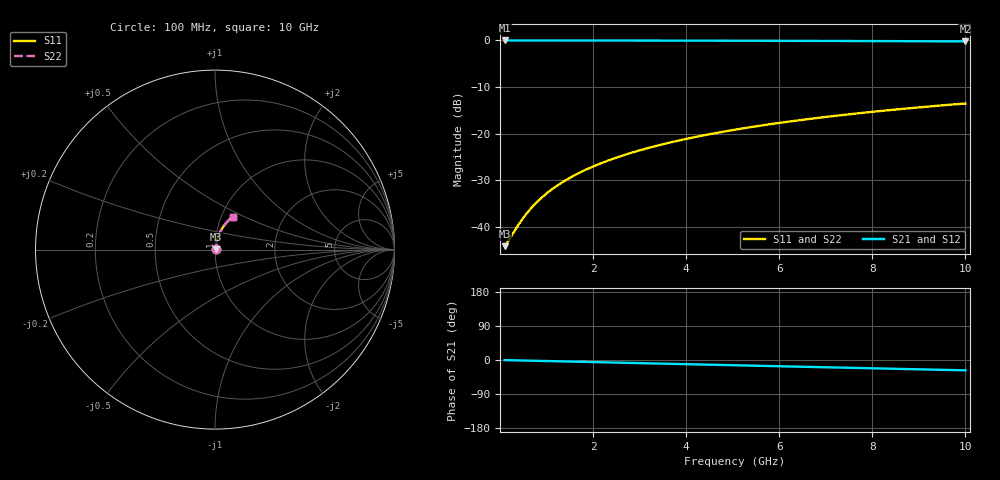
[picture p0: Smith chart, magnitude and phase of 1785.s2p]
# Hz S RI R 50.00
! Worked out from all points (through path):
!   100 points, 100 MHz to 10 GHz, reference 50 ohm
!   highest |S21| = -0.05 dB at 100 MHz (marker M1); lowest = -0.3 dB at 10 GHz (marker M2)
!   group delay of S21, straight-line fit = 7.58 ps
!   lowest |S11| = -44.1 dB at 100 MHz (marker M3), VSWR 1.01, Z = 50.6 + j0.221 ohm
!   |S11| at or under -10 dB: start of sweep to end of sweep
!   |S22| runs from -44.1 to -13.5 dB; largest |S21 - S12| = 0
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1e8  0.00586 0.00218  0.9941 -0.00478  0.9941 -0.00478  0.00586 0.00218
2e8  0.00593 0.00436  0.9941 -0.00956  0.9941 -0.00956  0.00593 0.00436
4e8  0.00611 0.00872  0.9938 -0.0191  0.9938 -0.0191  0.00611 0.00872
5e8  0.00622 0.0109  0.9937 -0.0239  0.9937 -0.0239  0.00622 0.0109
6e8  0.00635 0.0131  0.9935 -0.0287  0.9935 -0.0287  0.00635 0.0131
7e8  0.0065 0.0153  0.9933 -0.0334  0.9933 -0.0334  0.0065 0.0153
8e8  0.00667 0.0174  0.9931 -0.0382  0.9931 -0.0382  0.00667 0.0174
1e9  0.00707 0.0218  0.9926 -0.0478  0.9926 -0.0478  0.00707 0.0218
1.2e9  0.00756 0.0261  0.9919 -0.0573  0.9919 -0.0573  0.00756 0.0261
1.5e9  0.00843 0.0326  0.9908 -0.0716  0.9908 -0.0716  0.00843 0.0326
1.8e9  0.00949 0.039  0.9894 -0.0858  0.9894 -0.0858  0.00949 0.039
2.1e9  0.0107 0.0454  0.9877 -0.1  0.9877 -0.1  0.0107 0.0454
2.5e9  0.0127 0.0539  0.9851 -0.1189  0.9851 -0.1189  0.0127 0.0539
2.9e9  0.0149 0.0623  0.9821 -0.1377  0.9821 -0.1377  0.0149 0.0623
3.4e9  0.0182 0.0727  0.9778 -0.1611  0.9778 -0.1611  0.0182 0.0727
4.2e9  0.0244 0.0888  0.9695 -0.1981  0.9695 -0.1981  0.0244 0.0888
5.1e9  0.0329 0.1064  0.9581 -0.2391  0.9581 -0.2391  0.0329 0.1064
5.9e9  0.0416 0.1212  0.9463 -0.2748  0.9463 -0.2748  0.0416 0.1212
6.7e9  0.0514 0.1354  0.933 -0.3098  0.933 -0.3098  0.0514 0.1354
7.5e9  0.0622 0.1487  0.9183 -0.344  0.9183 -0.344  0.0622 0.1487
8.4e9  0.0755 0.1625  0.9 -0.3814  0.9 -0.3814  0.0755 0.1625
1e10  0.1017 0.1841  0.8634 -0.4448  0.8634 -0.4448  0.1017 0.1841
